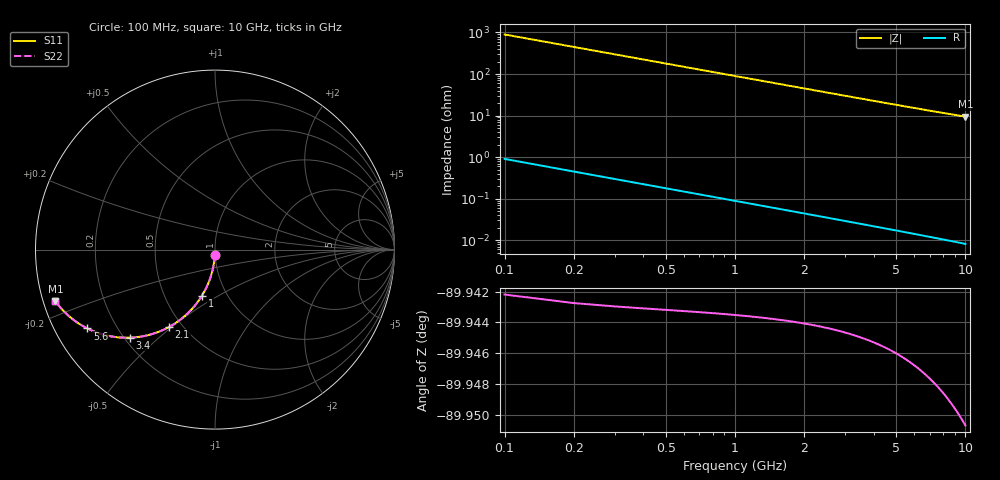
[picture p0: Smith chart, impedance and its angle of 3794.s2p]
# Hz S RI R 50.00
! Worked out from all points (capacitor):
!   100 points, 100 MHz to 10 GHz, reference 50 ohm
!   read as one part in shunt: C = 1.78 pF near 100 MHz
!   lowest |Z| = 9.42 ohm at 10 GHz (marker M1)
!   S11 on the Smith chart (normalised r, x): 100 MHz: 1.00, -0.06; 1 GHz: 0.76, -0.42; 2.1 GHz: 0.42, -0.49; 3.4 GHz: 0.22, -0.41; 5.6 GHz: 0.10, -0.28; 10 GHz: 0.03, -0.16
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1e8  -0.000767 -0.0277  0.9992 -0.0281  0.9992 -0.0281  -0.000767 -0.0277
2e8  -0.00312 -0.0552  0.9968 -0.0561  0.9968 -0.0561  -0.00312 -0.0552
3e8  -0.00701 -0.0825  0.9929 -0.0838  0.9929 -0.0838  -0.00701 -0.0825
4e8  -0.0124 -0.1093  0.9875 -0.1112  0.9875 -0.1112  -0.0124 -0.1093
5e8  -0.0192 -0.1357  0.9807 -0.138  0.9807 -0.138  -0.0192 -0.1357
6e8  -0.0274 -0.1615  0.9725 -0.1643  0.9725 -0.1643  -0.0274 -0.1615
7e8  -0.0369 -0.1865  0.963 -0.1898  0.963 -0.1898  -0.0369 -0.1865
8e8  -0.0477 -0.2108  0.9523 -0.2145  0.9523 -0.2145  -0.0477 -0.2108
1e9  -0.0725 -0.2565  0.9274 -0.2612  0.9274 -0.2612  -0.0725 -0.2565
1.2e9  -0.1011 -0.2983  0.8988 -0.3038  0.8988 -0.3038  -0.1011 -0.2983
1.4e9  -0.1327 -0.3356  0.8672 -0.3421  0.8672 -0.3421  -0.1327 -0.3356
1.8e9  -0.2019 -0.3968  0.798 -0.4051  0.798 -0.4051  -0.2019 -0.3968
2.1e9  -0.2561 -0.4311  0.7438 -0.4409  0.7438 -0.4409  -0.2561 -0.4311
2.7e9  -0.3627 -0.474  0.6371 -0.4866  0.6371 -0.4866  -0.3627 -0.474
3.4e9  -0.4746 -0.4909  0.5252 -0.5068  0.5252 -0.5068  -0.4746 -0.4909
4.2e9  -0.5799 -0.4831  0.4198 -0.503  0.4198 -0.503  -0.5799 -0.4831
5.1e9  -0.671 -0.4571  0.3286 -0.4814  0.3286 -0.4814  -0.671 -0.4571
5.6e9  -0.7112 -0.4392  0.2884 -0.466  0.2884 -0.466  -0.7112 -0.4392
6.7e9  -0.7796 -0.3976  0.2198 -0.43  0.2198 -0.43  -0.7796 -0.3976
7.5e9  -0.8164 -0.3681  0.1829 -0.4046  0.1829 -0.4046  -0.8164 -0.3681
8.4e9  -0.8485 -0.337  0.1506 -0.3782  0.1506 -0.3782  -0.8485 -0.337
1e10  -0.8888 -0.2881  0.1098 -0.3378  0.1098 -0.3378  -0.8888 -0.2881
